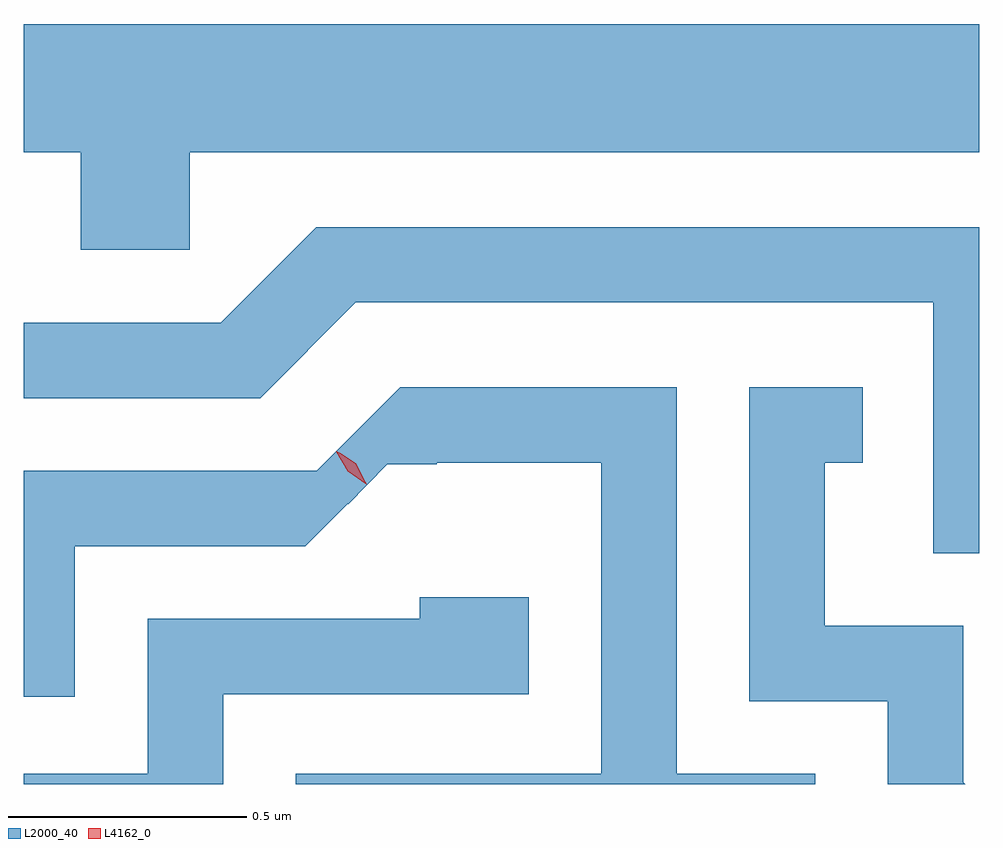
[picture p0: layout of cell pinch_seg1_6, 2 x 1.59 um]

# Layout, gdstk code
import gdstk
lib = gdstk.Library(unit=1e-6, precision=1e-09)
def P(c, l, *ps):  # polygons
    for p in ps: c.add(gdstk.Polygon(p, *l))
L2000_40 = (2000, 40)
L4162_0 = (4162, 0)

pinch_seg1_6 = lib.new_cell('pinch_seg1_6')
P(pinch_seg1_6, L2000_40, [(1495.819,859.616),(1497.472,859.616),(1497.472,859.884),(1495.472,859.884),(1495.472,859.616),(1495.591,859.616),(1495.591,859.411),(1495.819,859.411)],
  [(1497.472,859.459),(1496.084,859.459),(1495.884,859.259),(1495.472,859.259),(1495.472,859.101),(1495.967,859.101),(1496.167,859.301),(1497.376,859.301),(1497.376,858.776),(1497.472,858.776)],
  [(1497.439,858.297),(1497.439,858.624),(1497.149,858.624),(1497.149,858.966),(1497.228,858.966),(1497.228,859.124),(1496.991,859.124),(1496.991,858.466),(1497.281,858.466),(1497.281,858.293),(1497.443,858.293)],
  [(1497.129,858.314),(1496.839,858.314),(1496.839,859.124),(1496.26,859.124),(1496.085,858.949),(1495.472,858.949),(1495.472,858.476),(1495.579,858.476),(1495.579,858.791),(1496.061,858.791),(1496.15,858.88),(1496.151,858.879),(1496.233,858.962),(1496.336,858.962),(1496.336,858.966),(1496.681,858.966),(1496.681,858.314),(1496.041,858.314),(1496.041,858.293),(1497.129,858.293)],
  [(1495.889,858.481),(1496.529,858.481),(1496.529,858.684),(1496.301,858.684),(1496.301,858.639),(1495.731,858.639),(1495.731,858.314),(1495.472,858.314),(1495.472,858.293),(1495.889,858.293)])
P(pinch_seg1_6, L4162_0, [(1496.189,858.92),(1496.15,858.948),(1496.126,858.989),(1496.126,858.99),(1496.127,858.99),(1496.166,858.961),(1496.19,858.92),(1496.19,858.92)],
  [(1496.187,858.925),(1496.152,858.95),(1496.132,858.988),(1496.132,858.988),(1496.132,858.988),(1496.167,858.964),(1496.187,858.926),(1496.187,858.925)])

lib.write_gds('pinch_seg1_6.gds')
